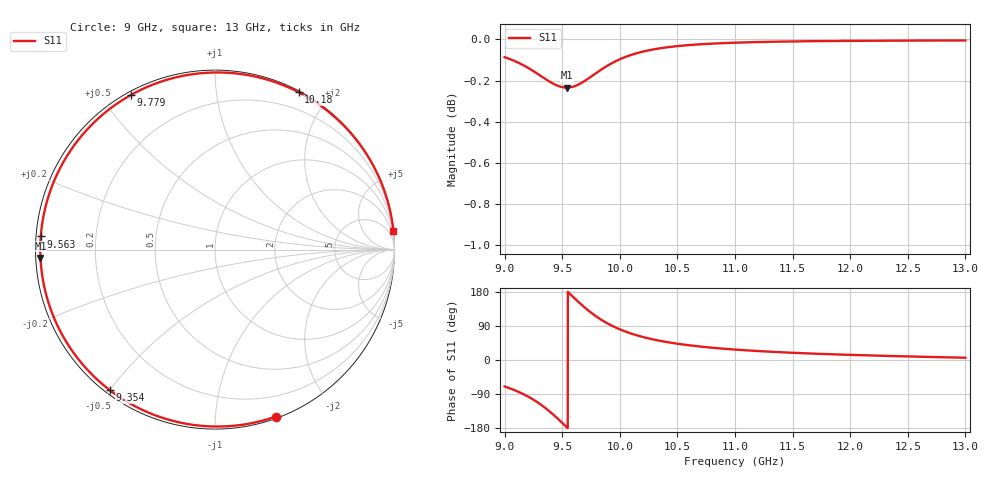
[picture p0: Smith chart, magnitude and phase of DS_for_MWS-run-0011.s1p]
! TOUCHSTONE file generated by CST DESIGN STUDIO
! Date and time: Tue Feb  4 12:41:22 2025
! Project name: C:\Work\MatlabApps\UnitCellOptimizationMatlab\CST\unitcell.cst
! Tree item: Tasks\Sweep1\SPara1\S-Parameters
! Header version: 2024
! Port assignment regex: !\s*Touchstone port\s*([0-9]+)\s*=\s*(CST MWS port|CST DES external port|CST DES block port)\s*(.+)\s* \(\"(.*)\"\)(\s*mode\s*([0-9]+))?.*
! Touchstone port assignment:
! Touchstone port 1 = CST DES external port 1 ("")
# GHz S MA R 50
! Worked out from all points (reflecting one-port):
!   4001 points, 9 GHz to 13 GHz, reference 50 ohm
!   lowest |S11| = -0.2 dB at 9.539 GHz (marker M1), VSWR 74.23, Z = 0.674 - j1.21 ohm
!   phase of S11 starts at -70 deg and turns -284 deg over the sweep
!   S11 on the Smith chart (normalised r, x): 9 GHz: 0.02, -1.43; 9.354 GHz: 0.01, -0.50; 9.563 GHz: 0.01, +0.04; 9.779 GHz: 0.01, +0.59; 10.18 GHz: 0.01, +1.66; 13 GHz: 0, +19
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9  0.9901 -70.0
9.101  0.9876 -81.5
9.21  0.984 -97.6
9.286  0.981 -111.8
9.354  0.9781 -126.8
9.424  0.9755 -144.5
9.464  0.9743 -155.5
9.5  0.9737 -165.8
9.539  0.9734 -177.2
9.563  0.9735 175.7
9.617  0.9744 160.0
9.678  0.9764 143.1
9.728  0.9784 130.3
9.779  0.9807 118.5
9.826  0.9827 108.7
9.877  0.9848 99.3
9.934  0.9869 90.1
10  0.989 80.9
10.088  0.9912 70.9
10.184  0.993 62.0
10.328  0.9949 51.9
10.5  0.9963 42.9
10.721  0.9974 34.7
11  0.9982 27.5
11.5  0.9989 19.1
12  0.9992 13.5
12.5  0.9994 9.4
13  0.9994 6.0
